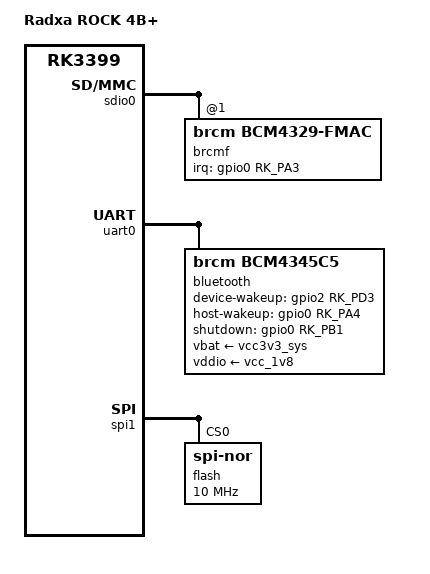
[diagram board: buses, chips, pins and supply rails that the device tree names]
// SPDX-License-Identifier: (GPL-2.0+ OR MIT)
/*
 * Radxa ROCK 4B+ -- early hardware revision (V1.6 / V1.72)
 * Copyright (c) 2019 Akash Gajjar <Akash_Gajjar@mentor.com>
 * Copyright (c) 2019 Pragnesh Patel <Pragnesh_Patel@mentor.com>
 */

/*
 * This board is the same hardware as what Radxa used to call "ROCK Pi 4B Plus"
 * and now calls "ROCK 4B+". The 2022 rename dropped "Pi" from the product line
 * name; the model suffix is what distinguishes boards.
 *
 * This file is deliberately a thin delta on top of two upstream, hardware
 * verified files, rather than a from-scratch description:
 *
 *   rk3399-op1.dtsi        OP1 (RK3399-T) operating points, incl. A72 to 2016 MHz
 *   rk3399-rock-pi-4.dtsi   the whole 4A/4B family: RK808 PMIC, regulators,
 *                           gmac RGMII timing, ES8316 audio on i2s0, LEDs,
 *                           storage, USB, 40-pin pinctrl
 *
 * An earlier version of this port hand-wrote ~900 lines and guessed the PMIC
 * type, regulator topology, audio codec address, RGMII delays and headphone
 * GPIOs. Every one of those guesses was wrong or unavailable, and the result was
 * a board that booted the kernel but had no working power rail, no Ethernet and
 * no USB. Inheriting the upstream files removes that entire class of error.
 *
 * Verified upstream hardware facts this file relies on, from
 * rk3399-rock-pi-4.dtsi:
 *   - PMIC is RK808 at i2c0 0x1b, and the node lives INSIDE &i2c0
 *   - Ethernet PHY supply is vcc3v3_lan, RGMII tx_delay 0x28 / rx_delay 0x11
 *   - ES8316 is at i2c1 0x11, takes mclk from SCLK_I2S_8CH_OUT, sits on i2s0
 *   - headphone detect is gpio1_A0, codec interrupt is gpio1_A1
 *   - status LED (blue) is gpio3_PD5
 *
 * Board-specific to this revision:
 *   - V1.6/V1.72 have a 4 MB SPI flash populated, so SPI is left enabled in
 *     U-Boot for booting and for the environment. Later V1.73 boards ship with
 *     the SPI flash unpopulated.
 *     Note that this says U-Boot specifically. It used to be the whole story,
 *     and it was worth stating: the kernel had no &spi1 and no flash@0 node at
 *     all, so the flash that holds the bootloader was invisible to a running
 *     OpenWrt. See the &spi1 block at the end of this file.
 *   - RAM may be 2 GB or 4 GB; nothing in the device tree needs to change.
 */

/dts-v1/;
#include "rk3399-op1.dtsi"
#include "rk3399-rock-pi-4.dtsi"

/ {
	model = "Radxa ROCK 4B+";
	compatible = "radxa,rock-4b-plus", "radxa,rockpi4b-plus", "radxa,rockpi4", "rockchip,rk3399";

	aliases {
		mmc2 = &sdio0;
	};

	/*
	 * No gpio-keys node on purpose.
	 *
	 * An earlier revision guessed gpio4_B2 for the on-board button so that
	 * kmod-gpio-button-hotplug could see it. That guess was wrong and it was
	 * dropped: holding the button produces no change on any GPIO, and neither
	 * rk3399-rock-pi-4b-plus.dts nor Radxa's own rk3399-rock-pi-4b-plus.dts
	 * declares a gpio-keys node.
	 *
	 * The reason is that the button is not a Linux input. Per Radxa's
	 * documentation the on-board button is a *Maskrom* button, and maskrom
	 * mode is selected by the boot ROM sampling the pin at power-on: hold the
	 * button while applying power, and the ROM enters maskrom instead of
	 * loading the SPI flash. There is no Linux-visible event to describe.
	 *
	 * Leaving the node in would also permanently claim gpio4_B2, which the
	 * 40-pin header and expansion HATs may want.
	 *
	 * RESET and maskrom are likewise bootloader-level and need no DT nodes.
	 */
};

/*
 * IMPORTANT: including rk3399-rock-pi-4.dtsi is NOT equivalent to including
 * rk3399-rock-pi-4b-plus.dts. The dtsi carries only the shared 4A/4B plumbing;
 * the board file carries the four overrides below, and rk3399-base.dtsi ships
 * the affected controllers as status = "disabled". Dropping them is exactly
 * why WiFi was dead on the first boot: sdio0 stayed disabled, the power
 * sequence never ran, and the reset line (gpio0_B2) was left low with the
 * chip held in reset.
 */

/* SDIO WiFi (AP6256 / BCM43456) */
&sdio0 {
	status = "okay";

	brcmf: wifi@1 {
		compatible = "brcm,bcm4329-fmac";
		reg = <1>;
		interrupt-parent = <&gpio0>;
		interrupts = <RK_PA3 IRQ_TYPE_LEVEL_HIGH>;
		interrupt-names = "host-wake";
		pinctrl-names = "default";
		pinctrl-0 = <&wifi_host_wake_l>;
	};
};

/*
 * The WiFi power sequence must name its clock "ext_clock".
 *
 * rk3399-rock-pi-4.dtsi calls this clock "lpo", and uses that name consistently
 * for the Bluetooth node as well. But the only name the MMC power-sequence
 * driver ever looks up is "ext_clock":
 *
 *     pwrseq->ext_clk = devm_clk_get(dev, "ext_clock");
 *     if (IS_ERR(pwrseq->ext_clk) && PTR_ERR(pwrseq->ext_clk) != -ENOENT)
 *             return dev_err_probe(..., "external clock not ready\n");
 *
 * and drivers/mmc/core/pwrseq_simple.c then guards every use with
 * !IS_ERR(). So with the inherited name the lookup returns -ENODEV, that is
 * tolerated, the ERR_PTR is left in place, and the clock is silently never
 * enabled. No error, no warning -- the WiFi power-on just proceeds without it.
 * The binding agrees: mmc-pwrseq-simple.yaml declares clock-names as
 * `const: ext_clock` with additionalProperties: false.
 *
 * What that clock is: rk808 index 1 resolves to clkout2, the RK808 PMIC's
 * 32.768 kHz output, gated by CLK32KOUT2_EN in RK808_CLK32OUT_REG, with real
 * prepare/unprepare ops. Enabling it is what actually switches the 32 kHz output
 * on, and it happens between powering the card and releasing its reset.
 *
 * Why this matters here, and how it was found: Armbian runs the WiFi fine on this
 * same board, with the same brcmfmac driver and byte-identical firmware, NVRAM
 * and clm_blob. Its live device tree differs from ours in exactly one place in
 * the WiFi power path -- this property. Armbian names it "ext_clock"; upstream
 * Radxa names it "lpo"; the driver only honours the former.
 *
 * The symptom matches: the firmware uploads successfully and the chip then never
 * asserts HT_AVAIL, which is what a chip that came out of reset without its
 * low-power clock present would look like.
 *
 * This is a conformance fix, not a tuning value. See
 * docs/wifi.md section 0.
 */
&sdio_pwrseq {
	clock-names = "ext_clock";
};

/* Bluetooth on UART0 */
&uart0 {
	status = "okay";

	bluetooth {
		compatible = "brcm,bcm4345c5";
		clocks = <&rk808 1>;
		clock-names = "lpo";
		device-wakeup-gpios = <&gpio2 RK_PD3 GPIO_ACTIVE_HIGH>;
		host-wakeup-gpios = <&gpio0 RK_PA4 GPIO_ACTIVE_HIGH>;
		shutdown-gpios = <&gpio0 RK_PB1 GPIO_ACTIVE_HIGH>;
		max-speed = <1500000>;
		pinctrl-names = "default";
		pinctrl-0 = <&bt_host_wake_l &bt_wake_l &bt_enable_h>;
		vbat-supply = <&vcc3v3_sys>;
		vddio-supply = <&vcc_1v8>;
	};
};

/* Headphone jack detect: 4-ring 3.5 mm jack, microphone input by default */
&sound {
	hp-det-gpio = <&gpio1 RK_PA0 GPIO_ACTIVE_HIGH>;
};

&es8316 {
	pinctrl-0 = <&hp_detect &hp_int>;
	pinctrl-names = "default";
	interrupt-parent = <&gpio1>;
	interrupts = <RK_PA1 IRQ_TYPE_LEVEL_HIGH>;
};

/*
 * SPI NOR flash, 4 MB XT25F32B, on spi1.
 *
 * rk3399-base.dtsi defines spi1 with the right pinctrl already
 * (&spi1_clk &spi1_tx &spi1_rx &spi1_cs0) but leaves it disabled, and
 * rk3399-rock-pi-4.dtsi never touches it -- so without this the kernel has no
 * /dev/mtd0 and cannot see the flash that holds the bootloader.
 *
 * Why that matters beyond curiosity: if the SPI bootloader ever goes bad again,
 * being able to read and rewrite it from a running system is the difference
 * between a five-minute fix and a maskrom operation. It is also the only way to
 * tell, from software, whether the chip is actually populated -- V1.73 boards
 * ship without it, and their probe fails harmlessly with a log line.
 *
 * spi-max-frequency follows this port's U-Boot
 * (rk3399-rock-pi-4-u-boot.dtsi, 10 MHz) rather than upstream
 * rk3399-rock-pi-4b.dts's 108 MHz. The chip is a plain SPI NOR on a short
 * trace; 10 MHz costs nothing here and reads are what this node is for. Change
 * it only with evidence that a faster clock is needed.
 */
&spi1 {
	status = "okay";

	flash@0 {
		compatible = "jedec,spi-nor";
		reg = <0>;
		spi-max-frequency = <10000000>;
	};
};
